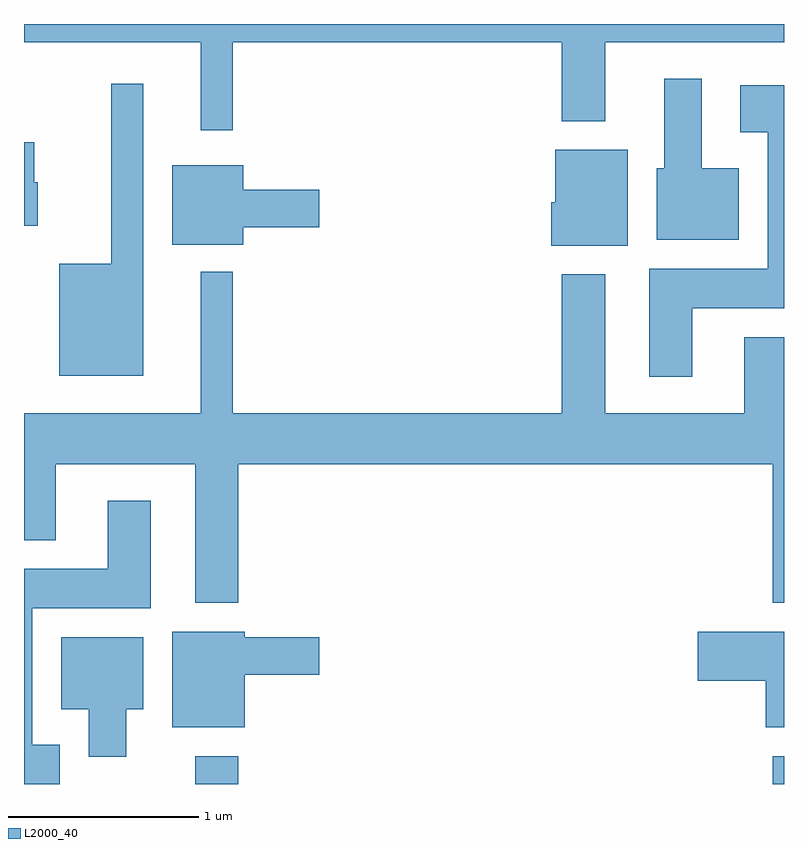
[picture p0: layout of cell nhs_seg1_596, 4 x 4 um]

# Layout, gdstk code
import gdstk
lib = gdstk.Library(unit=1e-6, precision=1e-09)
def R(c, l, rs):  # rectangles x0, y0, x1, y1
    for r in rs: c.add(gdstk.rectangle(r[:2], r[2:], *l))
def P(c, l, *ps):  # polygons
    for p in ps: c.add(gdstk.Polygon(p, *l))
L2000_40 = (2000, 40)

nhs_seg1_596 = lib.new_cell('nhs_seg1_596')
R(nhs_seg1_596, L2000_40, [(204.511,855.712,204.739,855.859), (207.551,855.712,207.611,855.859)])
P(nhs_seg1_596, L2000_40, [(204.709,859.616),(206.441,859.616),(206.441,859.201),(206.669,859.201),(206.669,859.616),(207.611,859.616),(207.611,859.712),(203.611,859.712),(203.611,859.616),(204.541,859.616),(204.541,859.153),(204.709,859.153)],
  [(207.374,858.954),(207.179,858.954),(207.179,859.424),(206.981,859.424),(206.981,858.954),(206.941,858.954),(206.941,858.576),(207.374,858.576)],
  [(204.239,859.398),(204.071,859.398),(204.071,858.449),(203.796,858.449),(203.796,857.861),(204.239,857.861)],
  [(207.129,858.216),(207.611,858.216),(207.611,859.389),(207.381,859.389),(207.381,859.141),(207.526,859.141),(207.526,858.424),(206.901,858.424),(206.901,857.856),(207.129,857.856)],
  [(203.684,858.879),(203.664,858.879),(203.664,859.089),(203.611,859.089),(203.611,858.651),(203.684,858.651)],
  [(206.789,859.049),(206.406,859.049),(206.406,858.774),(206.386,858.774),(206.386,858.546),(206.789,858.546)],
  [(204.764,858.641),(205.164,858.641),(205.164,858.839),(204.764,858.839),(204.764,858.969),(204.391,858.969),(204.391,858.551),(204.764,858.551)],
  [(204.739,857.396),(207.551,857.396),(207.551,856.666),(207.611,856.666),(207.611,858.064),(207.401,858.064),(207.401,857.664),(206.669,857.664),(206.669,858.394),(206.441,858.394),(206.441,857.664),(204.709,857.664),(204.709,858.408),(204.541,858.408),(204.541,857.664),(203.611,857.664),(203.611,856.996),(203.779,856.996),(203.779,857.396),(204.511,857.396),(204.511,856.666),(204.739,856.666)],
  [(203.799,855.919),(203.654,855.919),(203.654,856.636),(204.279,856.636),(204.279,857.204),(204.051,857.204),(204.051,856.844),(203.611,856.844),(203.611,855.712),(203.799,855.712)],
  [(207.611,856.514),(207.156,856.514),(207.156,856.256),(207.516,856.256),(207.516,856.011),(207.611,856.011)],
  [(204.774,856.286),(205.164,856.286),(205.164,856.484),(204.774,856.484),(204.774,856.514),(204.391,856.514),(204.391,856.011),(204.774,856.011)],
  [(204.149,856.106),(204.239,856.106),(204.239,856.484),(203.806,856.484),(203.806,856.106),(203.951,856.106),(203.951,855.856),(204.149,855.856)])

lib.write_gds('nhs_seg1_596.gds')
